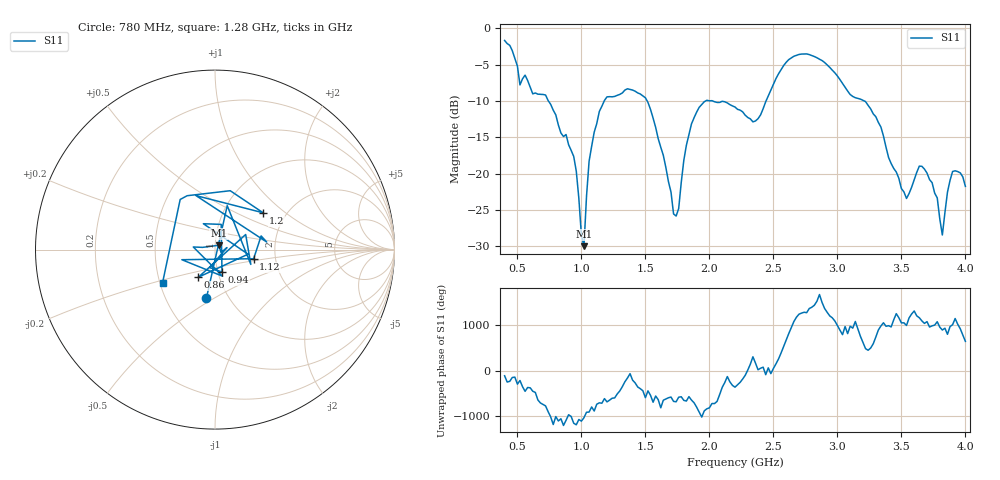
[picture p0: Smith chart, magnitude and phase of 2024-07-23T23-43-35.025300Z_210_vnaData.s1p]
!Created with skrf (http://scikit-rf.org).
# Hz S RI R 50.0
!freq ReS11 ImS11
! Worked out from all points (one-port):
!   181 points, 400 MHz to 4 GHz, reference 50 ohm
!   lowest |S11| = -30.0 dB at 1.02 GHz (marker M1), VSWR 1.07, Z = 52 + j2.5 ohm
!   |S11| at or under -10 dB: 742.4 MHz to 1.178 GHz (435.7 MHz wide, 45.4 % of centre); 1.514 GHz to 1.97 GHz (455.8 MHz wide, 26.2 % of centre); 3.211 GHz to end of sweep (the widest 3 of 4)
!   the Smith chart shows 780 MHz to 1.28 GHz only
!   S11 on the Smith chart (normalised r, x): 780 MHz: 0.79, -0.46; 860 MHz: 0.79, -0.25; 940 MHz: 1.05, -0.27; 1.12 GHz: 1.54, -0.16; 1.2 GHz: 1.53, +0.71; 1.28 GHz: 0.52, -0.22
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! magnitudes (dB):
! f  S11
! 400 MHz  -1.7
! 520 MHz  -7.8
! 780 MHz  -11.3
! 860 MHz  -14.9
! 940 MHz  -17.6
! 1.02 GHz  -30.0
! 1.06 GHz  -18.3
! 1.12 GHz  -13.1
! 1.2 GHz  -9.4
! 1.28 GHz  -9.2
! 1.3 GHz  -9.1
! 1.52 GHz  -10.2
! 1.72 GHz  -25.5
! 1.76 GHz  -24.8
! 1.82 GHz  -16.1
! 1.92 GHz  -10.9
! 2.2 GHz  -10.8
! 2.36 GHz  -12.7
! 2.66 GHz  -3.8
! 2.88 GHz  -4.4
! 3.1 GHz  -9.1
! 3.3 GHz  -12.2
! 3.56 GHz  -22.7
! 3.68 GHz  -19.4
! 3.78 GHz  -23.3
! 3.82 GHz  -28.4
! 3.9 GHz  -19.7
! 4 GHz  -21.8
